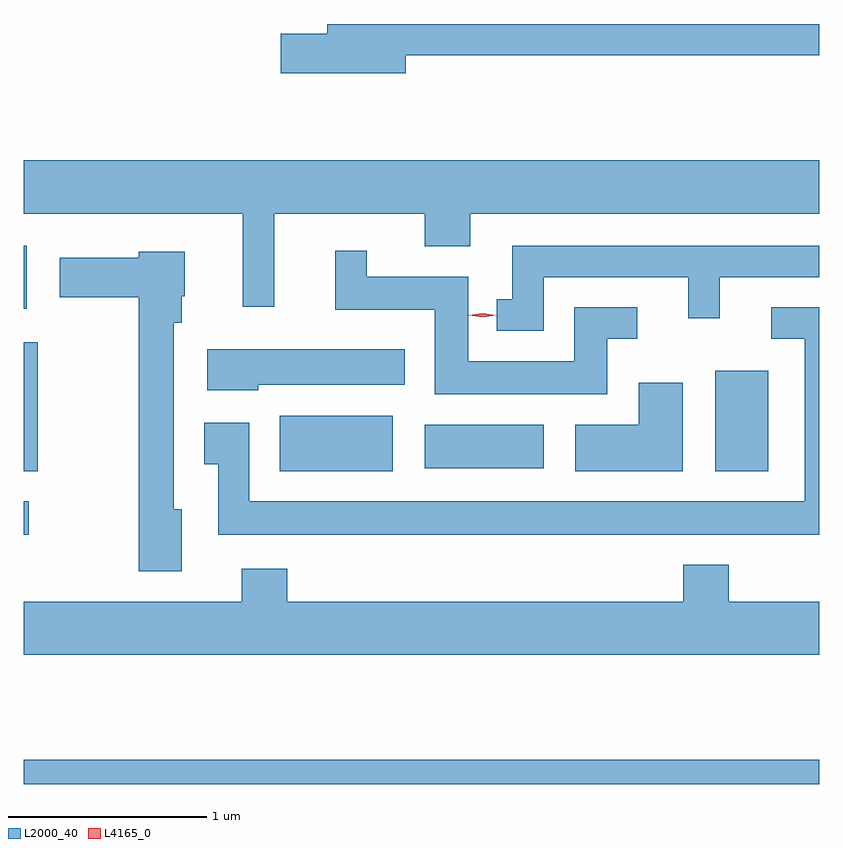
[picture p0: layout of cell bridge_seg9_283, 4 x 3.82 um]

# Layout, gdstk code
import gdstk
lib = gdstk.Library(unit=1e-6, precision=1e-09)
def R(c, l, rs):  # rectangles x0, y0, x1, y1
    for r in rs: c.add(gdstk.rectangle(r[:2], r[2:], *l))
def P(c, l, *ps):  # polygons
    for p in ps: c.add(gdstk.Polygon(p, *l))
L2000_40 = (2000, 40)
L4165_0 = (4165, 0)

bridge_seg9_283 = lib.new_cell('bridge_seg9_283')
R(bridge_seg9_283, L2000_40, [(1007.254,2044.447,1011.254,2044.569), (1007.254,2045.701,1007.278,2045.869), (1007.254,2046.021,1007.324,2046.669), (1008.541,2046.021,1009.109,2046.299), (1010.731,2046.021,1010.999,2046.524), (1009.271,2046.036,1009.869,2046.254), (1007.254,2046.836,1007.269,2047.154)])
P(bridge_seg9_283, L2000_40, [(1009.174,2048.111),(1011.254,2048.111),(1011.254,2048.269),(1008.781,2048.269),(1008.781,2048.219),(1008.546,2048.219),(1008.546,2048.021),(1009.174,2048.021)],
  [(1008.514,2047.316),(1009.271,2047.316),(1009.271,2047.151),(1009.499,2047.151),(1009.499,2047.316),(1011.254,2047.316),(1011.254,2047.584),(1007.254,2047.584),(1007.254,2047.316),(1008.356,2047.316),(1008.356,2046.848),(1008.514,2046.848)],
  [(1009.869,2046.996),(1010.596,2046.996),(1010.596,2046.788),(1010.754,2046.788),(1010.754,2046.996),(1011.254,2046.996),(1011.254,2047.154),(1009.711,2047.154),(1009.711,2046.884),(1009.633,2046.884),(1009.633,2046.726),(1009.869,2046.726)],
  [(1010.189,2046.686),(1010.338,2046.686),(1010.338,2046.844),(1010.021,2046.844),(1010.021,2046.574),(1009.489,2046.574),(1009.489,2046.999),(1008.979,2046.999),(1008.979,2047.128),(1008.821,2047.128),(1008.821,2046.831),(1009.321,2046.831),(1009.321,2046.406),(1010.189,2046.406)],
  [(1008.049,2045.829),(1008.009,2045.829),(1008.009,2046.766),(1008.049,2046.766),(1008.049,2046.9),(1008.064,2046.9),(1008.064,2047.124),(1007.831,2047.124),(1007.831,2047.094),(1007.436,2047.094),(1007.436,2046.896),(1007.831,2046.896),(1007.831,2045.516),(1008.049,2045.516)],
  [(1011.254,2046.844),(1011.013,2046.844),(1011.013,2046.686),(1011.181,2046.686),(1011.181,2045.869),(1008.389,2045.869),(1008.389,2046.264),(1008.161,2046.264),(1008.161,2046.056),(1008.231,2046.056),(1008.231,2045.701),(1011.254,2045.701)],
  [(1008.434,2046.456),(1009.169,2046.456),(1009.169,2046.634),(1008.176,2046.634),(1008.176,2046.426),(1008.434,2046.426)],
  [(1010.569,2046.464),(1010.346,2046.464),(1010.346,2046.254),(1010.026,2046.254),(1010.026,2046.021),(1010.569,2046.021)],
  [(1011.254,2045.364),(1010.799,2045.364),(1010.799,2045.549),(1010.571,2045.549),(1010.571,2045.364),(1008.579,2045.364),(1008.579,2045.529),(1008.351,2045.529),(1008.351,2045.364),(1007.254,2045.364),(1007.254,2045.096),(1011.254,2045.096)])
P(bridge_seg9_283, L4165_0, [(1009.561,2046.795),(1009.492,2046.804),(1009.492,2046.804),(1009.492,2046.805),(1009.561,2046.814),(1009.631,2046.805),(1009.631,2046.805),(1009.631,2046.804)])

lib.write_gds('bridge_seg9_283.gds')
